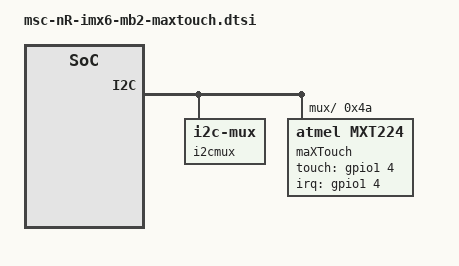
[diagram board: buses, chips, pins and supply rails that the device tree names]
/*
 * Copyright 2011 Freescale Semiconductor, Inc.
 * Copyright 2011 Linaro Ltd.
 *
 * The code contained herein is licensed under the GNU General Public
 * License. You may obtain a copy of the GNU General Public License
 * Version 2 or later at the following locations:
 *
 * http://www.opensource.org/licenses/gpl-license.html
 * http://www.gnu.org/copyleft/gpl.html
 */

/ {
	soc {
		aips-bus@02100000 { /* AIPS2 */
			i2cmux {
				i2c2@1 {
					maXTouch {
						compatible = "atmel,mXT224";
						reg = <0x4a>;
						interrupt-parent = <&gpio1>;
						interrupts = <4 2>;
						numtouch = <10>;
						max-x = <4096>;
						max-y = <4096>;
						touch-gpio = <&gpio1 4 0>;
					};
				};
			};
		};
	};
};
